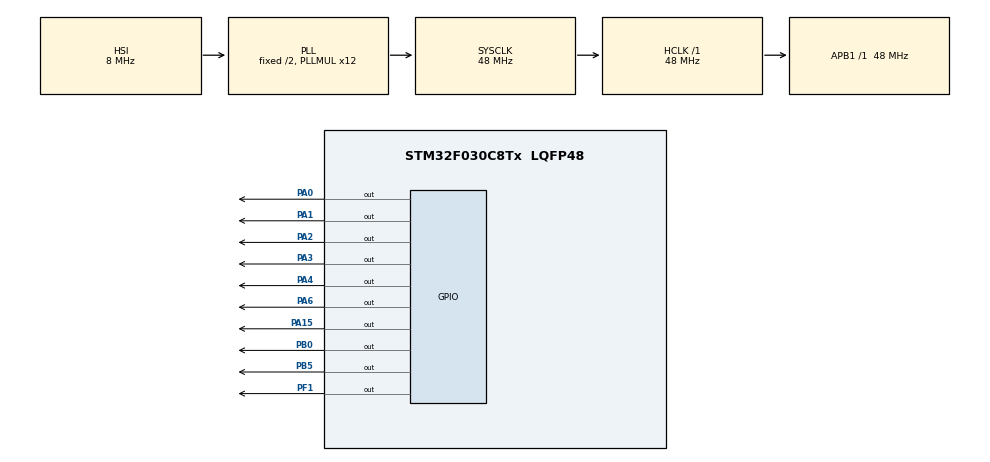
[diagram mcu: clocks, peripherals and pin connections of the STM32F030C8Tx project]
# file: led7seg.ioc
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Mcu.Family=STM32F0
Mcu.Name=STM32F030C8Tx
Mcu.Package=LQFP48
PA0.Signal=GPIO_Output
PA1.Signal=GPIO_Output
PA13.Mode=Serial_Wire
PA13.Signal=SYS_SWDIO
PA14.Mode=Serial_Wire
PA14.Signal=SYS_SWCLK
PA15.Signal=GPIO_Output
PA2.Signal=GPIO_Output
PA3.Signal=GPIO_Output
PA4.Signal=GPIO_Output
PA6.Signal=GPIO_Output
PB0.Signal=GPIO_Output
PB5.Signal=GPIO_Output
PF1-OSC_OUT.Signal=GPIO_Output
ProjectManager.HeapSize=0x200
ProjectManager.StackSize=0x400
ProjectManager.TargetToolchain=MDK-ARM V5.32
RCC.AHBFreq_Value=48000000
RCC.APB1Freq_Value=48000000
RCC.APB1TimFreq_Value=48000000
RCC.HCLKFreq_Value=48000000
RCC.PLLMUL=RCC_PLL_MUL12
RCC.SYSCLKFreq_VALUE=48000000
RCC.SYSCLKSource=RCC_SYSCLKSOURCE_PLLCLK
board=custom

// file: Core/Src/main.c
/* USER CODE BEGIN Header */
/**
  ******************************************************************************
  * @file           : main.c
  * @brief          : Main program body
  ******************************************************************************
  * @attention
  *
  * Copyright (c) 2025 STMicroelectronics.
  * All rights reserved.
  *
  * This software is licensed under terms that can be found in the LICENSE file
  * in the root directory of this software component.
  * If no LICENSE file comes with this software, it is provided AS-IS.
  *
  ******************************************************************************
  */
/* USER CODE END Header */
#include "main.h"

void SystemClock_Config(void);
static void MX_GPIO_Init(void);
/* USER CODE BEGIN PFP */

#define PORTA GPIOA
#define PORTB GPIOB
#define PORTF GPIOF

#define led_A GPIO_PIN_1
#define led_B GPIO_PIN_1
#define led_C GPIO_PIN_15
#define led_D GPIO_PIN_0
#define led_E GPIO_PIN_6
#define led_F GPIO_PIN_0
#define led_G GPIO_PIN_5

#define DIGIT_1 GPIO_PIN_2  // V? trí LED 1
#define DIGIT_2 GPIO_PIN_3  // V? trí LED 2
#define DIGIT_3 GPIO_PIN_4  // V? trí LED 3

/* USER CODE END PFP */

/* USER CODE BEGIN 0 */

uint8_t code_seg[10] = {0x3F, 0x06, 0x5B, 0x4F, 0x66, 0x6D, 0x7D, 0x07, 0x7F, 0x6F};

void led7seg_excute(uint32_t num)
{
	uint8_t data = code_seg[num];
	HAL_GPIO_WritePin(PORTA, led_A, (data & 0x01) ? 1 : 0);
	HAL_GPIO_WritePin(PORTF, led_B, (data & 0x02) ? 1 : 0);
	HAL_GPIO_WritePin(PORTA, led_C, (data & 0x04) ? 1 : 0);
	HAL_GPIO_WritePin(PORTB, led_D, (data & 0x08) ? 1 : 0);
	HAL_GPIO_WritePin(PORTA, led_E, (data & 0x10) ? 1 : 0);
	HAL_GPIO_WritePin(PORTA, led_F, (data & 0x20) ? 1 : 0);
	HAL_GPIO_WritePin(PORTB, led_G, (data & 0x40) ? 1 : 0);

}

void led_pos(uint8_t count)
{
	switch(count)
	{
		case 0:
			HAL_GPIO_WritePin(GPIOA, DIGIT_1, 0);
			HAL_GPIO_WritePin(GPIOA, DIGIT_2, 1);
			HAL_GPIO_WritePin(GPIOA, DIGIT_3, 1);
			break;

		case 1:
			HAL_GPIO_WritePin(GPIOA, DIGIT_1, 1);
			HAL_GPIO_WritePin(GPIOA, DIGIT_2, 0);
			HAL_GPIO_WritePin(GPIOA, DIGIT_3, 1);
			break;

		case 2:
			HAL_GPIO_WritePin(GPIOA, DIGIT_1, 1);
			HAL_GPIO_WritePin(GPIOA, DIGIT_2, 1);
			HAL_GPIO_WritePin(GPIOA, DIGIT_3, 0);
			break;

		default:
			break;
	}
}
void led7seg_display(uint8_t number)
{
	uint8_t digits[3];

	digits[0] = number % 10;
	digits[1] = (number / 10) % 10;
	digits[2] = number / 100;

	static int count = 0;
	static uint32_t lastValue = 0;

	if (HAL_GetTick() - lastValue > 5)
	{
		led_pos(count);
		led7seg_excute(digits[count]);
		count++;
		lastValue = HAL_GetTick();
	}
}
/* USER CODE END 0 */

int main(void)
{

  /* MCU Configuration--------------------------------------------------------*/

  /* Reset of all peripherals, Initializes the Flash interface and the Systick. */
  HAL_Init();

  /* Configure the system clock */
  //SystemClock_Config();

  /* Initialize all configured peripherals */
  MX_GPIO_Init();
  /* USER CODE BEGIN 2 */
	uint16_t counter = 0;
  /* USER CODE END 2 */

  /* Infinite loop */
  while (1)
  {

    /* USER CODE BEGIN 3 */
		led7seg_display(counter);
		HAL_Delay(1000);
		counter = (counter + 1) % 1000; // dem tu 0 -> 999; khi dem 1000 thi ve 0
  }
  /* USER CODE END 3 */
}

void SystemClock_Config(void)
{
  RCC_OscInitTypeDef RCC_OscInitStruct = {0};
  RCC_ClkInitTypeDef RCC_ClkInitStruct = {0};

  /** Initializes the RCC Oscillators according to the specified parameters
  * in the RCC_OscInitTypeDef structure.
  */
  RCC_OscInitStruct.OscillatorType = RCC_OSCILLATORTYPE_HSI;
  RCC_OscInitStruct.HSIState = RCC_HSI_ON;
  RCC_OscInitStruct.HSICalibrationValue = RCC_HSICALIBRATION_DEFAULT;
  RCC_OscInitStruct.PLL.PLLState = RCC_PLL_ON;
  RCC_OscInitStruct.PLL.PLLSource = RCC_PLLSOURCE_HSI;
  RCC_OscInitStruct.PLL.PLLMUL = RCC_PLL_MUL12;
  RCC_OscInitStruct.PLL.PREDIV = RCC_PREDIV_DIV1;
  if (HAL_RCC_OscConfig(&RCC_OscInitStruct) != HAL_OK)
  {
    Error_Handler();
  }

  /** Initializes the CPU, AHB and APB buses clocks
  */
  RCC_ClkInitStruct.ClockType = RCC_CLOCKTYPE_HCLK|RCC_CLOCKTYPE_SYSCLK
                              |RCC_CLOCKTYPE_PCLK1;
  RCC_ClkInitStruct.SYSCLKSource = RCC_SYSCLKSOURCE_PLLCLK;
  RCC_ClkInitStruct.AHBCLKDivider = RCC_SYSCLK_DIV1;
  RCC_ClkInitStruct.APB1CLKDivider = RCC_HCLK_DIV1;

  if (HAL_RCC_ClockConfig(&RCC_ClkInitStruct, FLASH_LATENCY_1) != HAL_OK)
  {
    Error_Handler();
  }
}

static void MX_GPIO_Init(void)
{
  GPIO_InitTypeDef GPIO_InitStruct = {0};

  /* GPIO Ports Clock Enable */
  __HAL_RCC_GPIOF_CLK_ENABLE();
  __HAL_RCC_GPIOA_CLK_ENABLE();
  __HAL_RCC_GPIOB_CLK_ENABLE();

  /*Configure GPIO pin Output Level */
  HAL_GPIO_WritePin(GPIOF, GPIO_PIN_1, GPIO_PIN_RESET);

  /*Configure GPIO pin Output Level */
  HAL_GPIO_WritePin(GPIOA, GPIO_PIN_0|GPIO_PIN_1|GPIO_PIN_2|GPIO_PIN_3
                          |GPIO_PIN_4|GPIO_PIN_6|GPIO_PIN_15, GPIO_PIN_RESET);

  /*Configure GPIO pin Output Level */
  HAL_GPIO_WritePin(GPIOB, GPIO_PIN_0|GPIO_PIN_5, GPIO_PIN_RESET);

  /*Configure GPIO pin : PF1 */
  GPIO_InitStruct.Pin = GPIO_PIN_1;
  GPIO_InitStruct.Mode = GPIO_MODE_OUTPUT_PP;
  GPIO_InitStruct.Pull = GPIO_NOPULL;
  GPIO_InitStruct.Speed = GPIO_SPEED_FREQ_LOW;
  HAL_GPIO_Init(GPIOF, &GPIO_InitStruct);

  /*Configure GPIO pins : PA0 PA1 PA2 PA3
                           PA4 PA6 PA15 */
  GPIO_InitStruct.Pin = GPIO_PIN_0|GPIO_PIN_1|GPIO_PIN_2|GPIO_PIN_3
                          |GPIO_PIN_4|GPIO_PIN_6|GPIO_PIN_15;
  GPIO_InitStruct.Mode = GPIO_MODE_OUTPUT_PP;
  GPIO_InitStruct.Pull = GPIO_NOPULL;
  GPIO_InitStruct.Speed = GPIO_SPEED_FREQ_LOW;
  HAL_GPIO_Init(GPIOA, &GPIO_InitStruct);

  /*Configure GPIO pins : PB0 PB5 */
  GPIO_InitStruct.Pin = GPIO_PIN_0|GPIO_PIN_5;
  GPIO_InitStruct.Mode = GPIO_MODE_OUTPUT_PP;
  GPIO_InitStruct.Pull = GPIO_NOPULL;
  GPIO_InitStruct.Speed = GPIO_SPEED_FREQ_LOW;
  HAL_GPIO_Init(GPIOB, &GPIO_InitStruct);

}

void Error_Handler(void)
{
  __disable_irq();
  while (1)
  {
  }
}
